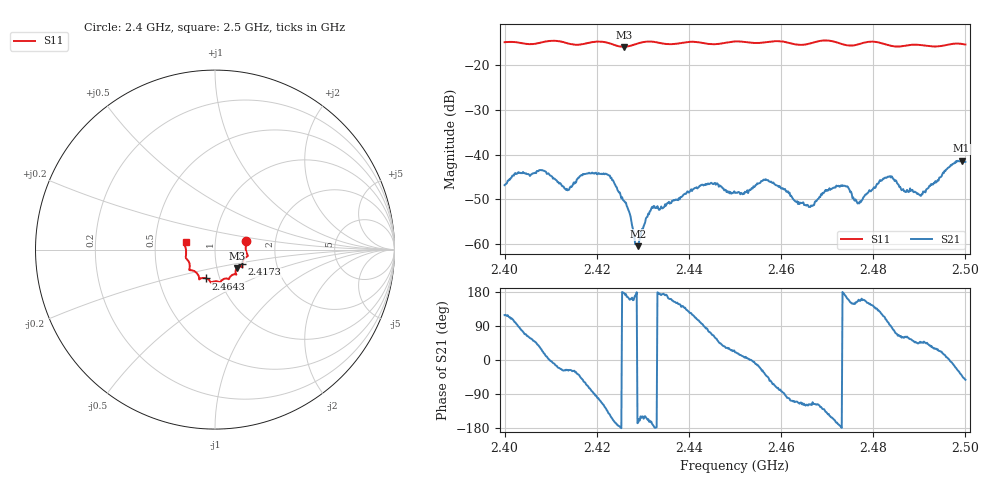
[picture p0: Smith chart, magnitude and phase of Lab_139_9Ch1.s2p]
# Hz S RI R 50
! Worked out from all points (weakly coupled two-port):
!   601 points, 2.4 GHz to 2.5 GHz, reference 50 ohm
!   highest |S21| = -41.35 dB at 2.4992 GHz (marker M1); lowest = -60.5 dB at 2.429 GHz (marker M2)
!   lowest |S11| = -15.9 dB at 2.4258 GHz (marker M3), VSWR 1.38, Z = 62.3 - j13.2 ohm
!   |S11| at or under -10 dB: start of sweep to end of sweep
!   S12 and S22 are empty: the file has one direction only
!   S11 on the Smith chart (normalised r, x): 2.4 GHz: 1.41, +0.14; 2.4173 GHz: 1.34, -0.23; 2.4643 GHz: 0.86, -0.28; 2.5 GHz: 0.72, +0.06
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2.4e9  0.1733 0.0489  -0.00217 0.004  0 0  0 0
2.402667e9  0.1755 0.0369  -0.000432 0.00608  0 0  0 0
2.408e9  0.1778 -0.0213  0.00589 0.00312  0 0  0 0
2.4135e9  0.1702 -0.0438  0.00369 -0.00187  0 0  0 0
2.416667e9  0.1528 -0.0746  0.00391 -0.00443  0 0  0 0
2.417333e9  0.152 -0.0821  0.00317 -0.00518  0 0  0 0
2.422333e9  0.1497 -0.0951  -0.00423 -0.00425  0 0  0 0
2.425833e9  0.1214 -0.1037  -0.00306 0.000141  0 0  0 0
2.429e9  0.1153 -0.1314  -0.000913 -0.000249  0 0  0 0
2.4315e9  0.119 -0.1392  -0.00218 -0.000789  0 0  0 0
2.433333e9  0.1128 -0.1374  -0.00251 0.000112  0 0  0 0
2.443167e9  0.0685 -0.1619  -3.07e-05 0.00451  0 0  0 0
2.45e9  0.0288 -0.1811  0.00349 0.0013  0 0  0 0
2.456667e9  -0.0119 -0.1792  0.00409 -0.00338  0 0  0 0
2.464333e9  -0.0498 -0.1605  -0.00109 -0.00266  0 0  0 0
2.466667e9  -0.0757 -0.1592  -0.00129 -0.00235  0 0  0 0
2.4725e9  -0.0895 -0.1516  -0.00441 -0.00077  0 0  0 0
2.477e9  -0.1266 -0.1159  -0.00262 0.00113  0 0  0 0
2.483333e9  -0.1403 -0.0895  -0.000791 0.00559  0 0  0 0
2.490167e9  -0.1627 -0.0399  0.00233 0.00261  0 0  0 0
2.499167e9  -0.1682 0.0381  0.00657 -0.00549  0 0  0 0
2.5e9  -0.1641 0.0426  0.00509 -0.00655  0 0  0 0
